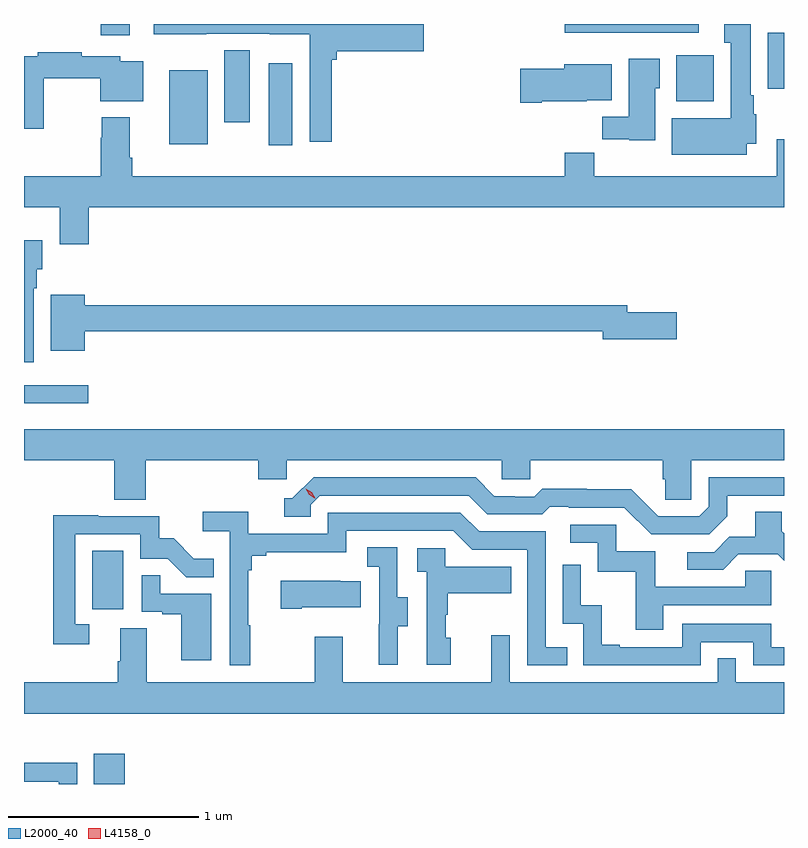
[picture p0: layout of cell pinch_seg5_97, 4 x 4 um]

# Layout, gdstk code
import gdstk
lib = gdstk.Library(unit=1e-6, precision=1e-09)
def R(c, l, rs):  # rectangles x0, y0, x1, y1
    for r in rs: c.add(gdstk.rectangle(r[:2], r[2:], *l))
def P(c, l, *ps):  # polygons
    for p in ps: c.add(gdstk.Polygon(p, *l))
L2000_40 = (2000, 40)
L4158_0 = (4158, 0)

pinch_seg5_97 = lib.new_cell('pinch_seg5_97')
R(pinch_seg5_97, L2000_40, [(1071.755,893.685,1071.916,893.845), (1071.746,894.606,1071.91,894.913), (1071.387,895.688,1071.724,895.785), (1072.676,897.048,1072.798,897.478), (1072.151,897.053,1072.354,897.442), (1072.442,897.168,1072.576,897.548), (1074.821,897.278,1075.018,897.52), (1075.301,897.344,1075.387,897.64), (1071.791,897.627,1071.943,897.685), (1074.233,897.638,1074.937,897.685)])
P(pinch_seg5_97, L2000_40, [(1075.192,897.056),(1075.24,897.056),(1075.24,897.21),(1075.228,897.21),(1075.228,897.31),(1075.213,897.31),(1075.213,897.685),(1075.073,897.685),(1075.073,897.587),(1075.106,897.587),(1075.106,897.19),(1074.797,897.19),(1074.797,896.996),(1075.192,896.996)],
  [(1073.006,897.497),(1073.033,897.497),(1073.033,897.542),(1073.491,897.542),(1073.491,897.684),(1073.02,897.684),(1073.02,897.685),(1072.071,897.685),(1072.071,897.632),(1072.346,897.632),(1072.346,897.633),(1072.68,897.633),(1072.68,897.632),(1072.89,897.632),(1072.89,897.066),(1073.006,897.066)],
  [(1071.492,897.4),(1071.788,897.4),(1071.788,897.278),(1072.015,897.278),(1072.015,897.49),(1071.894,897.49),(1071.894,897.516),(1071.692,897.516),(1071.692,897.536),(1071.46,897.536),(1071.46,897.516),(1071.387,897.516),(1071.387,897.135),(1071.492,897.135)],
  [(1074.709,897.348),(1074.733,897.348),(1074.733,897.502),(1074.569,897.502),(1074.569,897.196),(1074.43,897.196),(1074.43,897.078),(1074.573,897.078),(1074.573,897.074),(1074.709,897.074)],
  [(1074.112,897.278),(1074.348,897.278),(1074.348,897.284),(1074.481,897.284),(1074.481,897.472),(1074.23,897.472),(1074.23,897.449),(1074,897.449),(1074,897.271),(1074.112,897.271)],
  [(1071.728,896.72),(1075.387,896.72),(1075.387,897.079),(1075.349,897.079),(1075.349,896.884),(1074.389,896.884),(1074.389,897.008),(1074.233,897.008),(1074.233,896.884),(1071.956,896.884),(1071.956,896.98),(1071.943,896.98),(1071.943,897.193),(1071.796,897.193),(1071.796,897.086),(1071.791,897.086),(1071.791,896.884),(1071.387,896.884),(1071.387,896.72),(1071.575,896.72),(1071.575,896.526),(1071.728,896.526)],
  [(1071.439,896.294),(1071.454,896.294),(1071.454,896.394),(1071.484,896.394),(1071.484,896.548),(1071.387,896.548),(1071.387,895.905),(1071.439,895.905)],
  [(1071.706,896.068),(1074.434,896.068),(1074.434,896.026),(1074.823,896.026),(1074.823,896.168),(1074.562,896.168),(1074.562,896.204),(1071.706,896.204),(1071.706,896.26),(1071.527,896.26),(1071.527,895.964),(1071.706,895.964)],
  [(1072.028,895.388),(1072.619,895.388),(1072.619,895.29),(1072.77,895.29),(1072.77,895.388),(1073.901,895.388),(1073.901,895.29),(1074.051,895.29),(1074.051,895.388),(1074.749,895.388),(1074.749,895.29),(1074.763,895.29),(1074.763,895.18),(1074.9,895.18),(1074.9,895.388),(1075.387,895.388),(1075.387,895.552),(1071.387,895.552),(1071.387,895.388),(1071.863,895.388),(1071.863,895.18),(1072.028,895.18)],
  [(1075.087,895.093),(1075.087,895.203),(1075.387,895.203),(1075.387,895.299),(1074.99,895.299),(1074.99,895.143),(1074.942,895.095),(1074.726,895.095),(1074.584,895.237),(1074.348,895.237),(1074.348,895.24),(1074.115,895.24),(1074.073,895.197),(1073.97,895.197),(1073.97,895.2),(1073.863,895.2),(1073.764,895.299),(1072.911,895.299),(1072.8,895.188),(1072.757,895.188),(1072.757,895.092),(1072.896,895.092),(1072.896,895.155),(1072.944,895.203),(1073.727,895.203),(1073.826,895.104),(1074.115,895.104),(1074.154,895.143),(1074.253,895.143),(1074.253,895.14),(1074.546,895.14),(1074.687,894.999),(1074.993,894.999)],
  [(1075.147,894.894),(1075.353,894.894),(1075.387,894.86),(1075.387,895.004),(1075.375,895.016),(1075.375,895.118),(1075.235,895.118),(1075.235,894.986),(1075.1,894.986),(1075.02,894.906),(1074.879,894.906),(1074.879,894.813),(1075.066,894.813)],
  [(1072.579,894.521),(1072.567,894.521),(1072.567,894.809),(1072.586,894.809),(1072.586,894.886),(1072.663,894.886),(1072.663,894.905),(1073.082,894.905),(1073.082,895.017),(1073.646,895.017),(1073.745,894.918),(1074.036,894.918),(1074.036,894.309),(1074.245,894.309),(1074.245,894.405),(1074.132,894.405),(1074.132,895.014),(1073.782,895.014),(1073.683,895.113),(1072.986,895.113),(1072.986,895.002),(1072.568,895.002),(1072.568,895.118),(1072.329,895.118),(1072.329,895.016),(1072.47,895.016),(1072.47,894.309),(1072.579,894.309)],
  [(1071.73,894.525),(1071.657,894.525),(1071.657,894.999),(1071.999,894.999),(1071.999,894.87),(1072.143,894.87),(1072.241,894.772),(1072.385,894.772),(1072.385,894.871),(1072.281,894.871),(1072.174,894.978),(1072.098,894.978),(1072.098,895.095),(1071.779,895.095),(1071.779,895.1),(1071.541,895.1),(1071.541,894.42),(1071.73,894.42)],
  [(1074.751,894.627),(1075.32,894.627),(1075.32,894.807),(1075.183,894.807),(1075.183,894.723),(1074.709,894.723),(1074.709,894.909),(1074.504,894.909),(1074.504,895.05),(1074.261,895.05),(1074.261,894.954),(1074.408,894.954),(1074.408,894.801),(1074.607,894.801),(1074.607,894.498),(1074.751,894.498)],
  [(1073.353,894.514),(1073.407,894.514),(1073.407,894.669),(1073.352,894.669),(1073.352,894.932),(1073.193,894.932),(1073.193,894.829),(1073.256,894.829),(1073.256,894.525),(1073.255,894.525),(1073.255,894.312),(1073.353,894.312)],
  [(1073.632,894.456),(1073.607,894.456),(1073.607,894.575),(1073.617,894.575),(1073.617,894.689),(1073.951,894.689),(1073.951,894.829),(1073.604,894.829),(1073.604,894.927),(1073.457,894.927),(1073.457,894.803),(1073.508,894.803),(1073.508,894.312),(1073.632,894.312)],
  [(1074.948,894.432),(1075.224,894.432),(1075.224,894.309),(1075.387,894.309),(1075.387,894.405),(1075.32,894.405),(1075.32,894.528),(1074.852,894.528),(1074.852,894.405),(1074.523,894.405),(1074.523,894.418),(1074.428,894.418),(1074.428,894.626),(1074.318,894.626),(1074.318,894.838),(1074.222,894.838),(1074.222,894.528),(1074.33,894.528),(1074.33,894.309),(1074.948,894.309)],
  [(1072.372,894.687),(1072.103,894.687),(1072.103,894.785),(1072.008,894.785),(1072.008,894.591),(1072.115,894.591),(1072.115,894.579),(1072.214,894.579),(1072.214,894.336),(1072.372,894.336)],
  [(1072.849,894.614),(1073.159,894.614),(1073.159,894.751),(1073.051,894.751),(1073.051,894.754),(1072.737,894.754),(1072.737,894.607),(1072.849,894.607)],
  [(1075.387,894.22),(1075.134,894.22),(1075.134,894.347),(1075.038,894.347),(1075.038,894.22),(1073.943,894.22),(1073.943,894.469),(1073.846,894.469),(1073.846,894.22),(1073.065,894.22),(1073.065,894.46),(1072.918,894.46),(1072.918,894.22),(1072.033,894.22),(1072.033,894.506),(1071.893,894.506),(1071.893,894.332),(1071.881,894.332),(1071.881,894.22),(1071.387,894.22),(1071.387,894.056),(1075.387,894.056)],
  [(1071.666,893.798),(1071.387,893.798),(1071.387,893.697),(1071.57,893.697),(1071.57,893.685),(1071.666,893.685)])
P(pinch_seg5_97, L4158_0, [(1072.918,895.188),(1072.887,895.207),(1072.87,895.239),(1072.87,895.239),(1072.871,895.239),(1072.902,895.22),(1072.919,895.188),(1072.919,895.188)])

lib.write_gds('pinch_seg5_97.gds')
